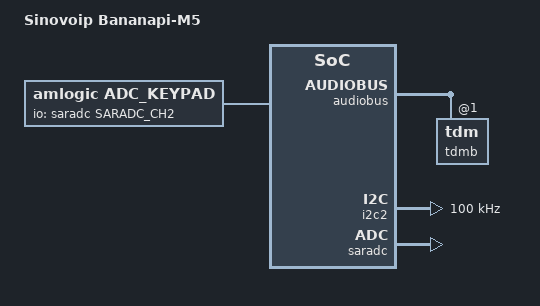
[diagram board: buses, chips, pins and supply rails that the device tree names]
#include "sm1_s905x3_4g_1gbit.dts"

/{
	model = "Sinovoip Bananapi-M5";
	/delete-property/ amlogic-dt-id;
	coreelec-dt-id = "sm1_s905x3_bananapi_m5";

	/delete-node/ memory@00000000;
	/delete-node/ bt-dev;
	/delete-node/ wifi;
	/delete-node/ wifi_pwm_conf;
	/delete-node/ unifykey;

	auge_sound {
		/delete-property/ avout_mute-gpios;
	};

	cpu_opp_table0: cpu_opp_table0 {
		opp12 {
			opp-hz = /bits/ 64 <2016000000>;
			opp-microvolt = <1010000>;
		};
		opp13 {
			opp-hz = /bits/ 64 <2100000000>;
			opp-microvolt = <1030000>;
		};
	};

	cpus:cpus {
		cpu-map {
			cluster0:cluster0 {
				stock_freq = <1908000000>;
			};
		};
	};

	gpioleds {
		status = "okay";
		/delete-node/ sys_led;
		green_led {
			label = "green";
			gpios = <&gpio_ao GPIOAO_2 GPIO_ACTIVE_LOW>;
			default-state = "off";
			linux,default-trigger = "none";
		};

		blue_led {
			label = "blue";
			gpios = <&gpio_ao GPIOAO_11 GPIO_ACTIVE_LOW>;
			default-state = "off";
			linux,default-trigger = "heartbeat";
		};
	};

	gpio-reset {
		compatible = "linux,gpio-reset";
		usb_hub {
			gpios = <&gpio GPIOH_4 GPIO_ACTIVE_HIGH>;
			asserted-state = <0>;
			duration-ms = <100>;
		};
	};

	adc_keypad {
		compatible = "amlogic, adc_keypad";
		status = "okay";
		key_name = "power";
		key_num = <1>;
		io-channels = <&saradc SARADC_CH2>;
		io-channel-names = "key-chan-2";
		key_chan = <SARADC_CH2>;
		key_code = <116>;
		key_val = <0>; //val=voltage/1800mV*1023
		key_tolerance = <40>;
	};

	meson-remote {
		map = <&custom_maps>;
	};

	custom_maps:custom_maps {
		mapnum = <2>;
		map0 = <&map_0>;
		map1 = <&map_1>;
		map_0: map_0{
			mapname = "amlogic-remote-1";
			customcode = <0xfe01>;
			release_delay = <80>;
			size  = <13>;   /*keymap size*/
			keymap = <REMOTE_KEY(0x00, KEY_POWER)
				REMOTE_KEY(0x01, KEY_MENU)
				REMOTE_KEY(0x09, KEY_HOME)
				REMOTE_KEY(0x02, KEY_LEFT)
				REMOTE_KEY(0x0a, KEY_RIGHT)
				REMOTE_KEY(0x05, KEY_UP)
				REMOTE_KEY(0x04, KEY_DOWN)
				REMOTE_KEY(0x06, KEY_ENTER)
				REMOTE_KEY(0x03, KEY_VOLUMEDOWN)
				REMOTE_KEY(0x0b, KEY_VOLUMEUP)
				REMOTE_KEY(0x40, KEY_BACK)
				REMOTE_KEY(0x48, KEY_PLAYPAUSE)
				REMOTE_KEY(0x44, KEY_MUTE)>;
		};
		map_1: map_1{
			mapname = "amlogic-remote-2";
			customcode = <0xaf40>;
			release_delay = <80>;
			size  = <13>;
			keymap = <REMOTE_KEY(0x0e, KEY_POWER)
				REMOTE_KEY(0x07, KEY_MENU)
				REMOTE_KEY(0x02, KEY_HOME)
				REMOTE_KEY(0x01, KEY_LEFT)
				REMOTE_KEY(0x03, KEY_RIGHT)
				REMOTE_KEY(0x19, KEY_UP)
				REMOTE_KEY(0x05, KEY_DOWN)
				REMOTE_KEY(0x06, KEY_ENTER)
				REMOTE_KEY(0x12, KEY_VOLUMEDOWN)
				REMOTE_KEY(0x04, KEY_VOLUMEUP)
				REMOTE_KEY(0x0f, KEY_BACK)
				REMOTE_KEY(0x0d, KEY_PLAYPAUSE)
				REMOTE_KEY(0x11, KEY_MUTE)>;
		};
};

	efuse: efuse {
		compatible = "amlogic, efuse";
		read_cmd = <0x82000030>;
		write_cmd = <0x82000031>;
		get_max_cmd = <0x82000033>;
		key = <&efusekey>;
		status = "okay";
	};

	efusekey: efusekey {
		keynum = <1>;
		key0 = <&key_0>;

		key_0: key_0 {
			keyname = "uuid";
			offset = <0>;
			size = <32>;
		};
	};
};

&spicc0 {
	status = "disabled";

	/*
	 40 Pin Header : MOSI(GPIOX.8->19 Pin), MISO(GPIOX.9->21 Pin),
			 SPI0_CLK(GPIOX.11->23 Pin)
			 SPI_CE0(GPIOX.2->22 Pin), SPI_CE1(GPIOX.10->24 Pin)
	*/
	pinctrl-names = "default","gpio_periphs";
	pinctrl-0 = <&spicc0_pins_x>;
	num_chipselect = <2>;

	cs-gpios = <&gpio GPIOX_10 GPIO_ACTIVE_LOW>,
		   <&gpio GPIOH_6 GPIO_ACTIVE_LOW>;

	spidev@0 {
		status = "disabled";

		compatible = "linux,spidev";
		/* spi default max clock 100Mhz */
		spi-max-frequency = <100000000>;
		reg = <0>;
	};
};

&audiobus {
	tdmb: tdm@1 {
		pinctrl-0 = <&tdmb_mclk_ao &tdmout_b_ao>;
	};
};

&pinctrl_periphs {
	/delete-node/ spdifout;
	/delete-node/ spdifout_a_mute;
};

&pinctrl_aobus {
	spdifout: spdifout {
		mux {
			groups = "spdif_out_ao";
			function = "spdif_out_ao";
		};
	};

	tdmb_mclk_ao: mclk0_ao {
		mux { /* GPIOAO_9 */
			groups = "mclk0_ao";
			function = "mclk0_ao";
			drive-strength = <2>;
		};
	};

	tdmout_b_ao: tdmout_b {
		mux { /* GPIOAO_8, GPIOAO_7, GPIOAO_4 */
			groups = "tdmb_sclk_ao",
				"tdmb_fs_ao",
				"tdmb_dout0_ao";
			function = "tdmb_out_ao";
			drive-strength = <2>;
		};
	};
};

&sd_emmc_c {
	mmc-ddr-1_8v;
	mmc-hs200-1_8v;
	emmc {
		caps = "MMC_CAP_8_BIT_DATA",
			 "MMC_CAP_MMC_HIGHSPEED",
			 "MMC_CAP_SD_HIGHSPEED",
			 "MMC_CAP_NONREMOVABLE",
			 "MMC_CAP_HW_RESET",
			 "MMC_CAP_ERASE",
			 "MMC_CAP_CMD23";
		caps2 = "MMC_CAP2_HS200_1_8V_SDR",
			"MMC_CAP2_BROKEN_VOLTAGE";
		hw_reset = <&gpio BOOT_12 GPIO_ACTIVE_HIGH>;
	};
};

&sd_emmc_a {
	status = "disabled";
	/delete-node/ sdio;
};

&ethmac {
	rst_pin-gpios = <&gpio GPIOZ_15 GPIO_ACTIVE_LOW>;
};

&usb3_phy_v2 {
	otg = <1>;
};

&uart_A {
	status = "disabled";
};

&i2c2 {
	status = "okay";
	pinctrl-names = "default";
	pinctrl-0 = <&i2c2_master_pins1>;
	clock-frequency = <100000>;
};

&i2c3 {
	status = "disabled";
	pinctrl-names = "default";
	pinctrl-0 = <&i2c3_master_pins2>;
	clock-frequency = <100000>;
};

&saradc {
	status = "okay";
};
